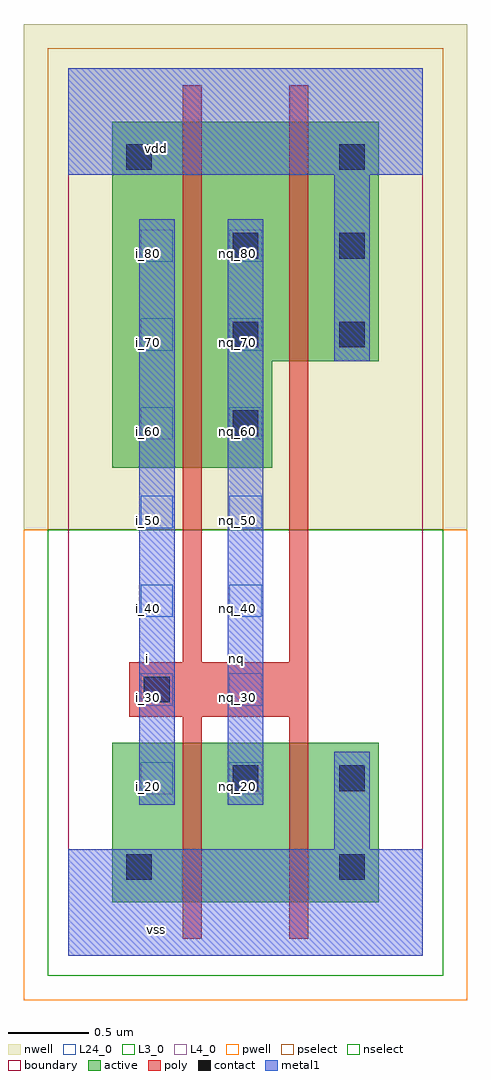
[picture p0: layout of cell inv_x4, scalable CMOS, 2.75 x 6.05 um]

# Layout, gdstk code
import gdstk
lib = gdstk.Library(unit=1e-6, precision=2.5e-09)
def R(c, l, rs):  # rectangles x0, y0, x1, y1
    for r in rs: c.add(gdstk.rectangle(r[:2], r[2:], *l))
def A(c, l, x, y, w, h, nx, ny, dx, dy):  # array of equal rectangles
    R(c, l, [(x+i*dx, y+j*dy, x+i*dx+w, y+j*dy+h) for i in range(nx) for j in range(ny)])
L3_0 = (3, 0)
L4_0 = (4, 0)
L24_0 = (24, 0)
contact = (25, 0)
pwell = (41, 0)
nwell = (42, 0)
active = (43, 0)
pselect = (44, 0)
nselect = (45, 0)
poly = (46, 0)
metal1 = (49, 0)
boundary = (63, 0)

inv_x4 = lib.new_cell('inv_x4')
R(inv_x4, L3_0, [(0.275,0.33,1.925,1.32)])
R(inv_x4, L4_0, [(0.275,3.025,1.265,3.685), (0.275,3.685,1.925,5.17)])
A(inv_x4, L24_0, 0.45, 1, 0.2, 0.2, 1, 7, 0, 0.55)
A(inv_x4, L24_0, 1, 1, 0.2, 0.2, 1, 7, 0, 0.55)
A(inv_x4, contact, 1.02, 3.22, 0.16, 0.16, 1, 3, 0, 0.55)
A(inv_x4, contact, 1.68, 3.77, 0.16, 0.16, 1, 3, 0, 0.55)
R(inv_x4, contact, [(0.36,0.47,0.52,0.63), (1.68,0.47,1.84,0.63), (1.02,1.02,1.18,1.18), (1.68,1.02,1.84,1.18), (0.47,1.57,0.63,1.73), (0.36,4.87,0.52,5.03)])
R(inv_x4, pwell, [(-0.275,-0.275,2.475,2.64)])
R(inv_x4, nwell, [(-0.275,2.64,2.475,5.775)])
R(inv_x4, active, [(0.275,0.33,1.925,1.32), (0.275,3.025,1.265,3.685), (0.275,3.685,1.925,5.17)])
R(inv_x4, pselect, [(-0.125,2.64,2.325,5.625)])
R(inv_x4, nselect, [(-0.125,-0.125,2.325,2.64)])
R(inv_x4, poly, [(0.71,0.105,0.83,1.48), (1.37,0.105,1.49,1.48), (0.38,1.48,1.49,1.82), (0.71,1.82,0.83,5.395), (1.37,1.82,1.49,5.395)])
R(inv_x4, metal1, [(0,0,2.2,0.66), (1.65,0.66,1.87,1.265), (0.44,0.935,0.66,4.565), (0.99,0.935,1.21,4.565), (1.65,3.685,1.87,4.84), (0,4.84,2.2,5.5)])
R(inv_x4, boundary, [(0,0,2.2,5.5)])
inv_x4.add(gdstk.Label('vss', (0.55,0.165), layer=49, texttype=0))
inv_x4.add(gdstk.Label('nq', (1.045,1.8425), layer=49, texttype=0))
inv_x4.add(gdstk.Label('i', (0.495,1.8425), layer=49, texttype=0))
inv_x4.add(gdstk.Label('vdd', (0.55,5.005), layer=49, texttype=0))
inv_x4.add(gdstk.Label('nq_20', (1.05,1.05), layer=24, texttype=0))
inv_x4.add(gdstk.Label('nq_30', (1.05,1.6), layer=24, texttype=0))
inv_x4.add(gdstk.Label('nq_40', (1.05,2.15), layer=24, texttype=0))
inv_x4.add(gdstk.Label('nq_50', (1.05,2.7), layer=24, texttype=0))
inv_x4.add(gdstk.Label('nq_60', (1.05,3.25), layer=24, texttype=0))
inv_x4.add(gdstk.Label('nq_70', (1.05,3.8), layer=24, texttype=0))
inv_x4.add(gdstk.Label('nq_80', (1.05,4.35), layer=24, texttype=0))
inv_x4.add(gdstk.Label('i_80', (0.5,4.35), layer=24, texttype=0))
inv_x4.add(gdstk.Label('i_70', (0.5,3.8), layer=24, texttype=0))
inv_x4.add(gdstk.Label('i_60', (0.5,3.25), layer=24, texttype=0))
inv_x4.add(gdstk.Label('i_50', (0.5,2.7), layer=24, texttype=0))
inv_x4.add(gdstk.Label('i_40', (0.5,2.15), layer=24, texttype=0))
inv_x4.add(gdstk.Label('i_30', (0.5,1.6), layer=24, texttype=0))
inv_x4.add(gdstk.Label('i_20', (0.5,1.05), layer=24, texttype=0))

lib.write_gds('inv_x4.gds')
